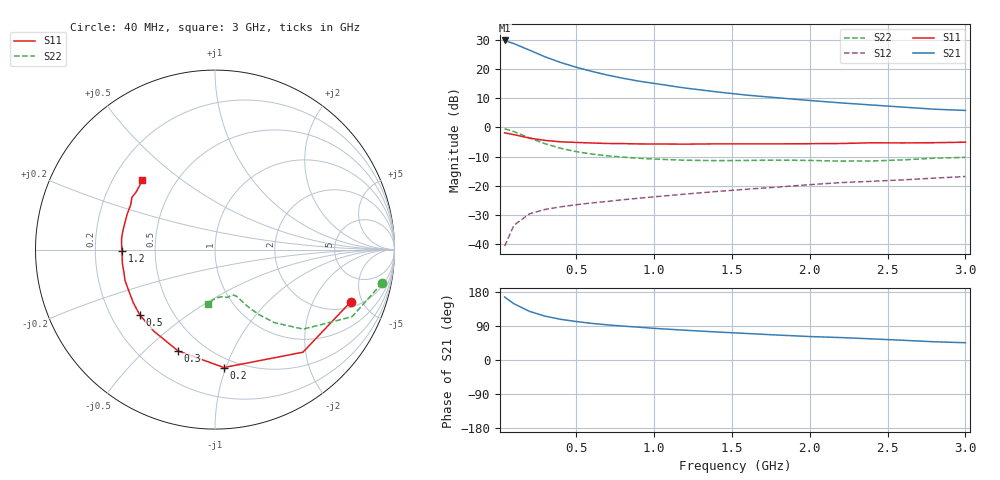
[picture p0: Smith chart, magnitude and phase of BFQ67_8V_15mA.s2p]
! Filename:  BFG67J.S2P  Version:  2.0
! Philips part #: BFG 67  Date: Jul 1990
! Bias condition: Vce=8V, Ic=15mA
! IN LINE PINNING: same data as with cross emitter pinning.
#  MHz  S  MA  R  50
! Freq  S11  S21  S12  S22  !GUM [dB]
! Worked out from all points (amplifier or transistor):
!   21 points, 40 MHz to 3 GHz, reference 50 ohm
!   highest |S21| = 29.8 dB at 40 MHz (marker M1)
!   |S21| within 3 dB of that: start of sweep to 185.4 MHz
!   unconditionally stable (mu >= 1): 1.147 GHz to end of sweep
!   at 300 MHz: K = 0.42, MSG = 26.1 dB, |S12| = -28.0 dB
!   at 1 GHz: K = 0.94, MSG = 19.4 dB, |S12| = -23.7 dB
!   at 3 GHz: K = 1.16, MAG = 8.9 dB, |S12| = -16.8 dB
!   lowest NFmin = 1.40 dB at 500 MHz
!   S11 on the Smith chart (normalised r, x): 40 MHz: 2.40, -4.06; 200 MHz: 0.42, -0.98; 300 MHz: 0.36, -0.64; 500 MHz: 0.32, -0.34; 1.2 GHz: 0.32, -0.01; 3 GHz: 0.32, +0.36
40  0.811 -20.9  30.81 166.2  0.00932 79.4  0.95 -11.3
100  0.753 -49.4  27.2 148.4  0.0213 66.6  0.85 -26.1
200  0.659 -85.7  21 128.3  0.0334 53.5  0.662 -42.0
300  0.601 -110.0  16.15 115.7  0.0396 48.1  0.527 -50.7
400  0.568 -127.0  12.93 107.4  0.0439 46.1  0.441 -55.7
500  0.555 -139.0  10.73 101.5  0.0477 45.8  0.386 -58.9
600  0.543 -147.0  9.109 96.6  0.0512 46.5  0.351 -61.0
700  0.532 -155.0  7.891 92.8  0.0543 47.9  0.327 -62.3
800  0.53 -161.0  6.953 89.4  0.0581 49.3  0.311 -63.3
900  0.523 -166.0  6.221 86.7  0.0615 50.3  0.298 -64.2
1000  0.522 -171.0  5.676 83.6  0.0651 51.3  0.288 -65.1
1200  0.519 -179.0  4.727 78.5  0.0725 53.9  0.275 -67.5
1400  0.524 173.8  4.072 74.0  0.0802 55.4  0.271 -70.6
1600  0.524 169.0  3.565 69.9  0.088 56.3  0.273 -73.2
1800  0.524 163.3  3.211 65.7  0.0959 57.3  0.276 -74.8
2000  0.528 157.6  2.894 61.9  0.105 58.5  0.273 -76.9
2200  0.532 151.9  2.634 59.2  0.114 58.5  0.266 -80.9
2400  0.547 147.9  2.423 55.7  0.12 59.4  0.267 -86.3
2600  0.544 143.9  2.23 52.0  0.127 59.8  0.279 -92.1
2800  0.549 140.7  2.053 48.1  0.136 60.0  0.298 -95.7
3000  0.56 136.4  1.957 45.6  0.145 58.1  0.308 -97.6
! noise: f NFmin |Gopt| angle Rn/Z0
500  1.4  0.305  38.8  0.289
1000  1.7  0.278  78.1  0.318
2000  2.7  0.359  152  0.192
